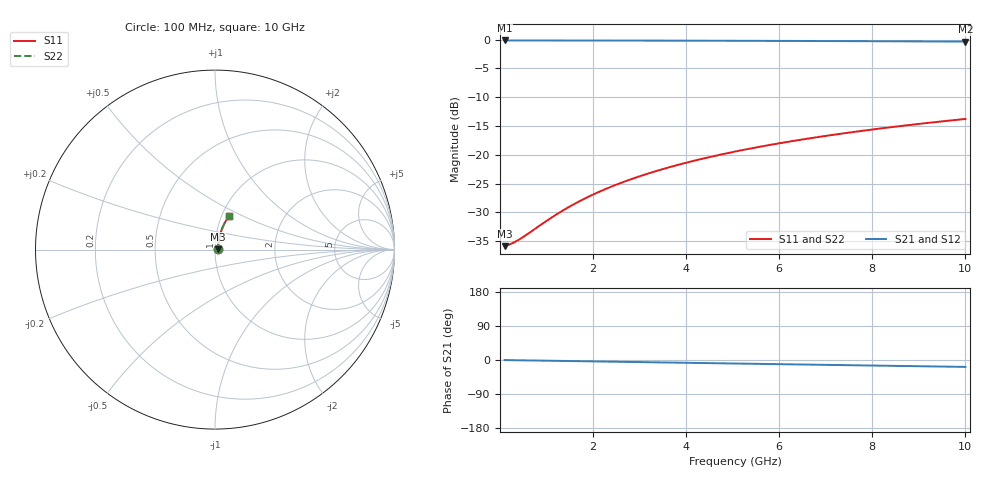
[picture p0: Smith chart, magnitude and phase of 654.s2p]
# Hz S RI R 50.00
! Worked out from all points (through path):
!   100 points, 100 MHz to 10 GHz, reference 50 ohm
!   highest |S21| = -0.14 dB at 100 MHz (marker M1); lowest = -0.3 dB at 10 GHz (marker M2)
!   group delay of S21, straight-line fit = 5.06 ps
!   lowest |S11| = -35.8 dB at 100 MHz (marker M3), VSWR 1.03, Z = 51.6 + j0.212 ohm
!   |S11| at or under -10 dB: start of sweep to end of sweep
!   |S22| runs from -35.8 to -13.8 dB; largest |S21 - S12| = 0
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1e8  0.016 0.00205  0.984 -0.00317  0.984 -0.00317  0.016 0.00205
2e8  0.0161 0.00411  0.9839 -0.00633  0.9839 -0.00633  0.0161 0.00411
3e8  0.0162 0.00616  0.9838 -0.0095  0.9838 -0.0095  0.0162 0.00616
4e8  0.0163 0.00821  0.9836 -0.0127  0.9836 -0.0127  0.0163 0.00821
5e8  0.0165 0.0103  0.9835 -0.0158  0.9835 -0.0158  0.0165 0.0103
1e9  0.0171 0.0205  0.9828 -0.0316  0.9828 -0.0316  0.0171 0.0205
1.2e9  0.0175 0.0246  0.9824 -0.0379  0.9824 -0.0379  0.0175 0.0246
1.5e9  0.0181 0.0307  0.9817 -0.0474  0.9817 -0.0474  0.0181 0.0307
1.8e9  0.0188 0.0368  0.981 -0.0568  0.981 -0.0568  0.0188 0.0368
2.1e9  0.0197 0.0429  0.9801 -0.0663  0.9801 -0.0663  0.0197 0.0429
2.5e9  0.0209 0.051  0.9787 -0.0788  0.9787 -0.0788  0.0209 0.051
2.9e9  0.0224 0.059  0.977 -0.0913  0.977 -0.0913  0.0224 0.059
3.4e9  0.0245 0.069  0.9747 -0.1069  0.9747 -0.1069  0.0245 0.069
3.8e9  0.0265 0.077  0.9726 -0.1193  0.9726 -0.1193  0.0265 0.077
4.2e9  0.0286 0.0848  0.9703 -0.1316  0.9703 -0.1316  0.0286 0.0848
4.6e9  0.0309 0.0926  0.9677 -0.1439  0.9677 -0.1439  0.0309 0.0926
5.1e9  0.0341 0.1023  0.9642 -0.1591  0.9642 -0.1591  0.0341 0.1023
5.9e9  0.0398 0.1174  0.958 -0.1832  0.958 -0.1832  0.0398 0.1174
6.7e9  0.0462 0.1323  0.9509 -0.207  0.9509 -0.207  0.0462 0.1323
7.5e9  0.0534 0.1467  0.943 -0.2304  0.943 -0.2304  0.0534 0.1467
8.4e9  0.0623 0.1624  0.9332 -0.2562  0.9332 -0.2562  0.0623 0.1624
1e10  0.08 0.1887  0.9136 -0.3005  0.9136 -0.3005  0.08 0.1887
